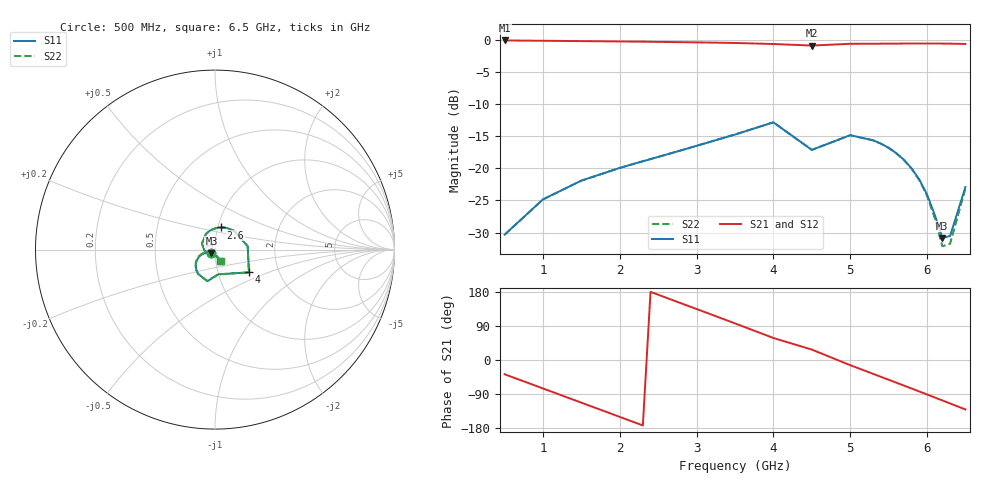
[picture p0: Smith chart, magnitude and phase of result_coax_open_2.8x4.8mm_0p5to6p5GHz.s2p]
! 2.8 x 4.8 mm L2 cutouts; original tapers; L3 intact
! Coax planes; connectors included; direct FEM points
# Hz S RI R 50
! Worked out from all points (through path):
!   31 points, 500 MHz to 6.5 GHz, reference 50 ohm
!   highest |S21| = -0.12 dB at 500 MHz (marker M1); lowest = -0.9 dB at 4.5 GHz (marker M2)
!   lowest |S11| = -30.8 dB at 6.2 GHz (marker M3), VSWR 1.06, Z = 48 - j2 ohm
!   |S11| at or under -10 dB: start of sweep to end of sweep
!   |S22| runs from -32.1 to -12.8 dB; largest |S21 - S12| = 1e-12
!   S11 on the Smith chart (normalised r, x): 500 MHz: 0.95, -0.04; 2.6 GHz: 1.03, +0.26; 4 GHz: 1.41, -0.38; 6.5 GHz: 1.05, -0.14
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5e8  -0.0238 -0.019  0.7815 -0.6017  0.7815 -0.6017  -0.0239 -0.0189
1e9  -0.0565 -0.00951  0.2521 -0.9478  0.2521 -0.9478  -0.0566 -0.00893
1.5e9  -0.0732 0.0329  -0.375 -0.8999  -0.375 -0.8999  -0.0727 0.0337
2e9  -0.0505 0.0871  -0.8403 -0.4819  -0.8403 -0.4819  -0.0494 0.0877
2.3e9  -0.0156 0.1123  -0.9568 -0.1221  -0.9568 -0.1221  -0.0144 0.1125
2.5e9  0.0152 0.1216  -0.9528 0.1302  -0.9528 0.1302  0.0164 0.1215
2.6e9  0.0324 0.1233  -0.9261 0.2536  -0.9261 0.2536  0.0336 0.123
2.8e9  0.0691 0.1194  -0.8254 0.4841  -0.8254 0.4841  0.07 0.119
3e9  0.1065 0.1049  -0.6684 0.6798  -0.6684 0.6798  0.1072 0.1044
3.5e9  0.182 0.0188  -0.1093 0.9366  -0.1093 0.9366  0.1823 0.0183
4e9  0.1892 -0.1266  0.4893 0.7858  0.4893 0.7858  0.1891 -0.1271
4.5e9  0.0192 -0.1376  0.7985 0.4156  0.7985 0.4156  0.0187 -0.1378
5e9  -0.0424 -0.1758  0.9031 -0.2184  0.9031 -0.2184  -0.0438 -0.1754
5.3e9  -0.0931 -0.1362  0.7464 -0.5554  0.7464 -0.5554  -0.0948 -0.1348
5.5e9  -0.1067 -0.0972  0.5732 -0.7346  0.5732 -0.7346  -0.1083 -0.0949
5.7e9  -0.1007 -0.0584  0.3571 -0.8622  0.3571 -0.8622  -0.1017 -0.0553
5.9e9  -0.0764 -0.0291  0.1126 -0.9273  0.1126 -0.9273  -0.0767 -0.0254
6e9  -0.0591 -0.0208  -0.0149 -0.934  -0.0149 -0.934  -0.0588 -0.0169
6.1e9  -0.0398 -0.0179  -0.1425 -0.9228  -0.1425 -0.9228  -0.0389 -0.0138
6.2e9  -0.0198 -0.0208  -0.2676 -0.8937  -0.2676 -0.8937  -0.0183 -0.0167
6.3e9  -0.000474 -0.0298  -0.3876 -0.847  -0.3876 -0.847  0.00157 -0.0258
6.5e9  0.0298 -0.0649  -0.6017 -0.7046  -0.6017 -0.7046  0.033 -0.0614
